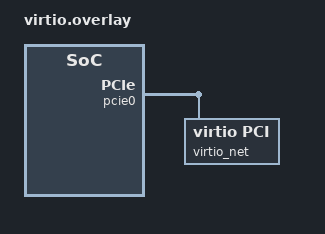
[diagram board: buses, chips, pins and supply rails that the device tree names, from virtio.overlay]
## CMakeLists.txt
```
# SPDX-License-Identifier: Apache-2.0

cmake_minimum_required(VERSION 3.20.0)

find_package(Zephyr REQUIRED HINTS $ENV{ZEPHYR_BASE})
project(ndp)

FILE(GLOB app_sources src/*.c)
target_sources(app PRIVATE ${app_sources})
```

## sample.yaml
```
sample:
  name: NDP Sample
  description: Network Data Plane callback system demonstration

tests:
  sample.net.ndp:
    tags: net ndp
    platform_allow:
      - qemu_x86
    integration_platforms:
      - qemu_x86

  sample.net.ndp.e1000:
    tags: net ndp e1000
    platform_allow:
      - qemu_x86
    integration_platforms:
      - qemu_x86
    extra_args: EXTRA_CONF_FILE="overlay-e1000.conf"
```

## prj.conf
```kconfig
# NDP Sample Application Configuration

# Enable basic networking
CONFIG_NETWORKING=y
CONFIG_NET_L2_ETHERNET=y

# Enable IP protocols for checksum support
CONFIG_NET_IPV4=y
CONFIG_NET_IPV6=y

# Enable NDP packet processing
CONFIG_NDP_PACKET_PROCESSING=y

# Logging
CONFIG_LOG=y

# Network buffers
CONFIG_NET_BUF=y
CONFIG_NET_PKT_RX_COUNT=16
CONFIG_NET_PKT_TX_COUNT=16

# Main stack size
CONFIG_MAIN_STACK_SIZE=2048

# Heap memory
CONFIG_HEAP_MEM_POOL_SIZE=8192
```

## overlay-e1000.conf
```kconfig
# Network overlay for qemu_x86
# Enable networking with ethernet
CONFIG_NET_L2_ETHERNET=y

# Enable network management
CONFIG_NET_MGMT=y
CONFIG_NET_MGMT_EVENT=y

# Enable network statistics
CONFIG_NET_STATISTICS=y

# Enable network shell for debugging
CONFIG_NET_SHELL=y

# Enable IP configuration with auto-init support
CONFIG_NET_DHCPV4=y
CONFIG_NET_CONFIG_SETTINGS=y
CONFIG_NET_CONFIG_AUTO_INIT=y
CONFIG_NET_CONFIG_NEED_IPV4=y
CONFIG_NET_CONFIG_MY_IPV4_ADDR="192.0.2.1"
CONFIG_NET_CONFIG_MY_IPV4_GW="192.0.2.2"
CONFIG_NET_CONFIG_MY_IPV4_NETMASK="255.255.255.0"

# Enable network buffer management
CONFIG_NET_BUF=y
CONFIG_NET_PKT_RX_COUNT=32
CONFIG_NET_PKT_TX_COUNT=32
CONFIG_NET_BUF_RX_COUNT=64
CONFIG_NET_BUF_TX_COUNT=64

# Increase stack sizes for networking
CONFIG_MAIN_STACK_SIZE=4096
CONFIG_NET_RX_STACK_SIZE=2048
CONFIG_NET_TX_STACK_SIZE=2048
CONFIG_SYSTEM_WORKQUEUE_STACK_SIZE=4096

# Enable logging for debugging
CONFIG_NET_LOG=y

# Enable Intel e1000 Ethernet driver
CONFIG_ETH_E1000=y

# Enable PCI Express support required by e1000
CONFIG_PCIE=y
```

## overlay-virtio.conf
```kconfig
# Network overlay for qemu_x86 with virtio-net
# Enable networking with ethernet
CONFIG_NET_L2_ETHERNET=y

# Enable network management
CONFIG_NET_MGMT=y
CONFIG_NET_MGMT_EVENT=y

# Enable network statistics
CONFIG_NET_STATISTICS=y

# Enable network shell for debugging
CONFIG_NET_SHELL=y

# Enable IP configuration with auto-init support
CONFIG_NET_DHCPV4=y
CONFIG_NET_CONFIG_SETTINGS=y
CONFIG_NET_CONFIG_AUTO_INIT=y
CONFIG_NET_CONFIG_NEED_IPV4=y
CONFIG_NET_CONFIG_MY_IPV4_ADDR="192.0.2.1"
CONFIG_NET_CONFIG_MY_IPV4_GW="192.0.2.2"
CONFIG_NET_CONFIG_MY_IPV4_NETMASK="255.255.255.0"

# Enable network buffer management
CONFIG_NET_BUF=y
CONFIG_NET_PKT_RX_COUNT=32
CONFIG_NET_PKT_TX_COUNT=32
CONFIG_NET_BUF_RX_COUNT=64
CONFIG_NET_BUF_TX_COUNT=64

# Increase stack sizes for networking
CONFIG_MAIN_STACK_SIZE=4096
CONFIG_NET_RX_STACK_SIZE=2048
CONFIG_NET_TX_STACK_SIZE=2048
CONFIG_SYSTEM_WORKQUEUE_STACK_SIZE=4096

# Enable logging for debugging
CONFIG_NET_LOG=y

# Enable virtio-net Ethernet driver
CONFIG_ETH_VIRTIO_NET=y

# Configure number of receive buffers for virtio (default 4)
CONFIG_ETH_VIRTIO_NET_RX_BUFFERS=4

# Enable PCI Express support required by virtio-pci
CONFIG_PCIE=y

# Enable virtio entropy (optional - adds virtio-rng-pci to QEMU)
CONFIG_ENTROPY_VIRTIO=y
```

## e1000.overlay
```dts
/*
 * SPDX-License-Identifier: Apache-2.0
 */

/ {
    e1000: ethernet@1800 {
        compatible = "intel,e1000";
        reg = <0x00001800 0x00020000>;
        interrupts = <10 0x0000A000 0>;
        interrupt-parent = <&intc>;
        status = "okay";
    };
};
```

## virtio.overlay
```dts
/*
 * SPDX-License-Identifier: Apache-2.0
 *
 * Devicetree overlay for virtio-net-pci networking.
 * 
 * This overlay adds a virtio network device on the PCIe bus.
 * QEMU must be launched with: -device virtio-net-pci,netdev=net0
 *
 * Vendor ID 0x1af4 = Red Hat / QEMU (virtio vendor)
 * Device ID 0x1000 = virtio-net (transitional)
 */

&pcie0 {
	eth0: eth0 {
		status = "disabled";
	};

	virtio_net: virtio-net {
		compatible = "virtio,pci";

		vendor-id = <0x1af4>;
		device-id = <0x1000>;

		interrupts = <0xb 0x0 0x0>;
		interrupt-parent = <&intc>;

		device {
			compatible = "virtio,net";
			status = "okay";
			zephyr,random-mac-address;
		};
	};
};
```

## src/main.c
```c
/*
 * Copyright NDP Developer 2026
 *
 * SPDX-License-Identifier: Apache-2.0
 */

#include <zephyr/kernel.h>
#include <zephyr/logging/log.h>
#include <zephyr/net/net_if.h>
#include <zephyr/net/net_pkt.h>
#include <zephyr/net/net_mgmt.h>
#include <zephyr/net/ethernet.h>
#include <zephyr/net/net_ndp.h>
#include <zephyr/sys/util.h>
#include <zephyr/sys/__assert.h>

LOG_MODULE_REGISTER(ndp_sample, LOG_LEVEL_INF);

#define PERF_TEST_INTERVAL_MS 1000
#define PERF_TEST_PACKET_SIZE_MIN 64
#define PERF_TEST_PACKET_SIZE_MAX 1518

/**
 * @brief Performance test statistics structure
 */
struct perf_stats {
    uint64_t packets_processed;
    uint64_t packets_dropped;
    uint64_t bytes_processed;
    uint64_t processing_time_us;
    uint64_t min_latency_us;
    uint64_t max_latency_us;
    uint64_t total_latency_us;
    uint32_t packet_sizes[PERF_TEST_PACKET_SIZE_MAX + 1];
    uint32_t ipv4_packets;
    uint32_t ipv6_packets;
    k_timeout_t test_duration;
    uint64_t test_start_time;
    bool test_running;
};

/**
 * @brief Global performance statistics instance
 */
static struct perf_stats g_perf_stats = {
    .min_latency_us = UINT64_MAX,
    .packets_processed = 0,
    .packets_dropped = 0,
    .bytes_processed = 0,
    .processing_time_us = 0,
    .total_latency_us = 0,
    .ipv4_packets = 0,
    .ipv6_packets = 0,
    .test_running = false,
};

/**
 * @brief Initialize performance statistics
 */
static void perf_stats_init(struct perf_stats *stats, k_timeout_t duration)
{
    memset(stats, 0, sizeof(struct perf_stats));
    stats->min_latency_us = UINT64_MAX;
    stats->test_duration = duration;
    stats->test_start_time = k_uptime_ticks();
    stats->test_running = true;
}

/**
 * @brief Record a packet processing event with timing
 */
static void perf_record_packet(struct perf_stats *stats, struct net_pkt *pkt,
                                uint64_t processing_time_us)
{
    uint16_t pkt_len = net_pkt_get_len(pkt);

    stats->packets_processed++;
    stats->bytes_processed += pkt_len;
    stats->processing_time_us += processing_time_us;
    stats->total_latency_us += processing_time_us;

    if (processing_time_us < stats->min_latency_us) {
        stats->min_latency_us = processing_time_us;
    }
    if (processing_time_us > stats->max_latency_us) {
        stats->max_latency_us = processing_time_us;
    }

    if (pkt_len <= PERF_TEST_PACKET_SIZE_MAX) {
        stats->packet_sizes[pkt_len]++;
    }

    if (net_pkt_family(pkt) == AF_INET) {
        stats->ipv4_packets++;
    } else if (net_pkt_family(pkt) == AF_INET6) {
        stats->ipv6_packets++;
    }
}

/**
 * @brief Record a dropped packet event
 */
static void perf_record_dropped(struct perf_stats *stats)
{
    stats->packets_dropped++;
}

/**
 * @brief Calculate and return current throughput in bits per second
 */
static uint64_t perf_calc_throughput_bps(struct perf_stats *stats)
{
    uint64_t elapsed_ms = k_uptime_delta(&stats->test_start_time);
    if (elapsed_ms == 0) {
        return 0;
    }
    return (stats->bytes_processed * 8 * 1000) / elapsed_ms;
}

/**
 * @brief Calculate and return current packets per second
 */
static uint64_t perf_calc_pps(struct perf_stats *stats)
{
    uint64_t elapsed_ms = k_uptime_delta(&stats->test_start_time);
    if (elapsed_ms == 0) {
        return 0;
    }
    return (stats->packets_processed * 1000) / elapsed_ms;
}

/**
 * @brief Calculate average latency in microseconds
 */
static uint64_t perf_calc_avg_latency_us(struct perf_stats *stats)
{
    if (stats->packets_processed == 0) {
        return 0;
    }
    return stats->total_latency_us / stats->packets_processed;
}

/**
 * @brief Calculate packet drop rate as percentage
 */
static uint64_t perf_calc_drop_rate(struct perf_stats *stats)
{
    uint64_t total = stats->packets_processed + stats->packets_dropped;
    if (total == 0) {
        return 0;
    }
    return (stats->packets_dropped * 100) / total;
}

/**
 * @brief Print performance test report
 */
static void perf_print_report(struct perf_stats *stats)
{
    uint64_t throughput_bps = perf_calc_throughput_bps(stats);
    uint64_t pps = perf_calc_pps(stats);
    uint64_t avg_latency_us = perf_calc_avg_latency_us(stats);
    uint64_t drop_rate = perf_calc_drop_rate(stats);

    LOG_INF("========== NDP Performance Test Report ==========");
    LOG_INF("Total Packets Processed: %llu", stats->packets_processed);
    LOG_INF("Total Packets Dropped: %llu", stats->packets_dropped);
    LOG_INF("Total Bytes Processed: %llu", stats->bytes_processed);
    LOG_INF("IPv4 Packets: %u", stats->ipv4_packets);
    LOG_INF("IPv6 Packets: %u", stats->ipv6_packets);
    LOG_INF("--------------------------------------------");
    LOG_INF("Throughput: %llu.%llu Mbps",
           throughput_bps / 1000000,
           (throughput_bps % 1000000) / 1000);
    LOG_INF("Packets Per Second: %llu pps", pps);
    LOG_INF("--------------------------------------------");
    LOG_INF("Min Latency: %llu us", stats->min_latency_us == UINT64_MAX ? 0 : stats->min_latency_us);
    LOG_INF("Max Latency: %llu us", stats->max_latency_us);
    LOG_INF("Avg Latency: %llu us", avg_latency_us);
    LOG_INF("--------------------------------------------");
    LOG_INF("Packet Drop Rate: %llu%%", drop_rate);
    LOG_INF("============================================");
}

/**
 * @brief Periodic performance reporting task
 */
static void perf_report_task(struct k_work *work)
{
    extern struct perf_stats g_perf_stats;
    struct perf_stats *stats = &g_perf_stats;

    if (stats->test_running && stats->packets_processed > 0) {
        perf_print_report(stats);
    }

    k_work_reschedule((struct k_work_delayable *)work,
                     K_MSEC(PERF_TEST_INTERVAL_MS));
}

static K_WORK_DELAYABLE_DEFINE(perf_report_work, perf_report_task);

/**
 * @brief Start performance test with specified duration
 */
static void perf_test_start(k_timeout_t duration)
{
    LOG_INF("Starting NDP Performance Test (duration: %lld ms)", k_ticks_to_ms_floor64(duration.ticks));
    perf_stats_init(&g_perf_stats, duration);
    k_work_reschedule(&perf_report_work, K_MSEC(100));
}

/**
 * @brief Stop performance test and print final report
 */
static void perf_test_stop(void)
{
    g_perf_stats.test_running = false;
    k_work_cancel_delayable(&perf_report_work);
    LOG_INF("NDP Performance Test Stopped");
    perf_print_report(&g_perf_stats);
}

/**
 * @brief NDP callback function for packet processing (Mixed Mode)
 */
static enum net_verdict ndp_mixed_callback(struct net_pkt *pkt)
{
    int64_t start_time = k_uptime_ticks();

    LOG_DBG("NDP Mixed Mode: Processing packet");

    if (net_pkt_family(pkt) == AF_INET) {
        LOG_DBG("IPv4 packet");
    } else if (net_pkt_family(pkt) == AF_INET6) {
        LOG_DBG("IPv6 packet");
    }

    if (g_perf_stats.test_running) {
        uint64_t processing_time_us = k_ticks_to_us_ceil64(k_uptime_ticks() - start_time);
        perf_record_packet(&g_perf_stats, pkt, processing_time_us);
    }

    return NET_CONTINUE;
}

/**
 * @brief NDP callback function for packet processing (Pure NDP Mode)
 */
static enum net_verdict ndp_pure_callback(struct net_pkt *pkt)
{
    int64_t start_time = k_uptime_ticks();

    LOG_DBG("NDP Pure Mode: Processing packet");

    if (net_pkt_family(pkt) == AF_INET) {
        LOG_DBG("Handling IPv4 packet in pure NDP mode");
        if (g_perf_stats.test_running) {
            uint64_t processing_time_us = k_ticks_to_us_ceil64(k_uptime_ticks() - start_time);
            perf_record_packet(&g_perf_stats, pkt, processing_time_us);
        }
        return NET_OK;
    }

    if (g_perf_stats.test_running) {
        uint64_t processing_time_us = k_ticks_to_us_ceil64(k_uptime_ticks() - start_time);
        perf_record_packet(&g_perf_stats, pkt, processing_time_us);
    }

    return NET_CONTINUE;
}

/**
 * @brief Network interface event callback
 */
static void iface_cb(struct net_mgmt_event_callback *cb,
                     uint32_t mgmt_event, struct net_if *iface)
{
    if (mgmt_event == NET_EVENT_IF_UP) {
        char ifname[32];
        net_if_get_name(iface, ifname, sizeof(ifname));
        LOG_INF("Network interface %s is up", ifname);
        
        /* Register NDP callback based on configuration */
        int ret;
        if (IS_ENABLED(CONFIG_NDP_ONLY_MODE)) {
            ret = net_ndp_register_callback(iface, ndp_pure_callback);
            LOG_INF("Pure NDP mode callback registered: %d", ret);
        } else {
            ret = net_ndp_register_callback(iface, ndp_mixed_callback);
            LOG_INF("Mixed mode NDP callback registered: %d", ret);
        }
    }
}

/**
 * @brief Main application entry point
 */
int main(void)
{
    static struct net_mgmt_event_callback mgmt_cb;

    LOG_INF("NDP Sample Application Started");

    net_mgmt_init_event_callback(&mgmt_cb, iface_cb, NET_EVENT_IF_UP);
    net_mgmt_add_event_callback(&mgmt_cb);

    if (IS_ENABLED(CONFIG_NDP_ONLY_MODE)) {
        LOG_INF("Running in Pure NDP mode (bypassing native stack)");
    } else {
        LOG_INF("Running in Mixed NDP mode (preprocessing + native stack)");
    }

    perf_test_start(K_SECONDS(60));

    while (1) {
        static uint32_t counter = 0;
        LOG_INF("NDP sample running for %u seconds", counter++);

        k_sleep(K_SECONDS(5));
    }

    perf_test_stop();
    return 0;
}
```
